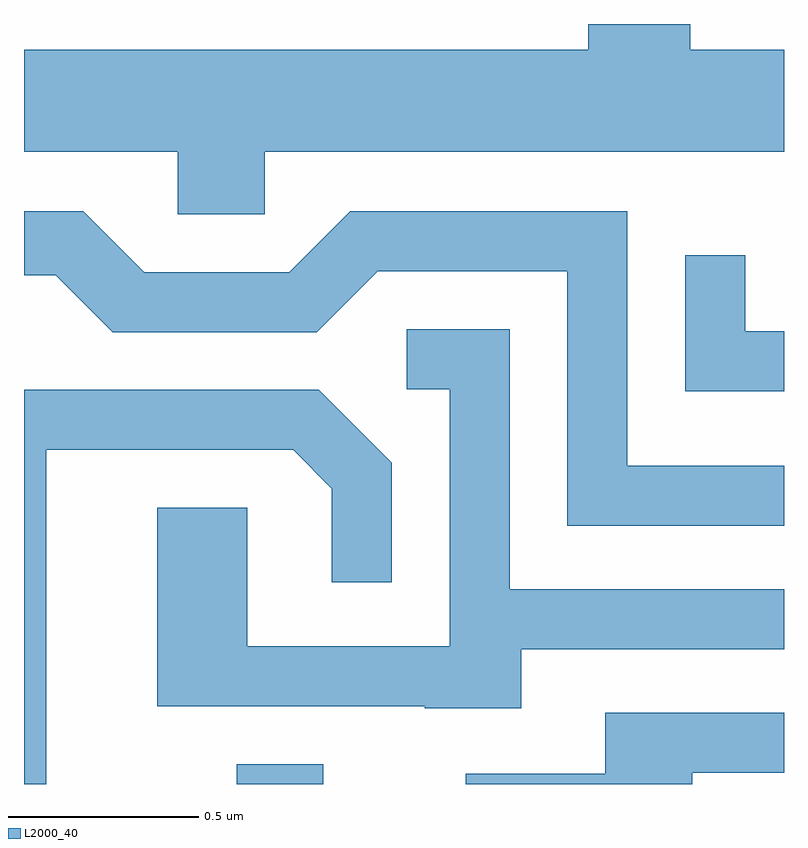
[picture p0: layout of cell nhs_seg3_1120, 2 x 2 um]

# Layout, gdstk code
import gdstk
lib = gdstk.Library(unit=1e-6, precision=1e-09)
def R(c, l, rs):  # rectangles x0, y0, x1, y1
    for r in rs: c.add(gdstk.rectangle(r[:2], r[2:], *l))
def P(c, l, *ps):  # polygons
    for p in ps: c.add(gdstk.Polygon(p, *l))
L2000_40 = (2000, 40)

nhs_seg3_1120 = lib.new_cell('nhs_seg3_1120')
R(nhs_seg3_1120, L2000_40, [(194.171,1139.892,194.399,1139.944)])
P(nhs_seg3_1120, L2000_40, [(194.244,1141.556),(195.611,1141.556),(195.611,1141.824),(195.364,1141.824),(195.364,1141.892),(195.096,1141.892),(195.096,1141.824),(193.611,1141.824),(193.611,1141.556),(194.016,1141.556),(194.016,1141.391),(194.244,1141.391)],
  [(195.611,1140.729),(195.199,1140.729),(195.199,1141.399),(194.469,1141.399),(194.309,1141.239),(193.927,1141.239),(193.767,1141.399),(193.611,1141.399),(193.611,1141.231),(193.694,1141.231),(193.844,1141.081),(194.382,1141.081),(194.542,1141.241),(195.041,1141.241),(195.041,1140.571),(195.611,1140.571)],
  [(195.611,1141.084),(195.509,1141.084),(195.509,1141.283),(195.351,1141.283),(195.351,1140.926),(195.611,1140.926)],
  [(194.919,1140.246),(195.611,1140.246),(195.611,1140.404),(194.889,1140.404),(194.889,1141.089),(194.618,1141.089),(194.618,1140.931),(194.731,1140.931),(194.731,1140.254),(194.199,1140.254),(194.199,1140.619),(193.961,1140.619),(193.961,1140.096),(194.665,1140.096),(194.665,1140.091),(194.919,1140.091)],
  [(193.669,1140.771),(194.319,1140.771),(194.421,1140.669),(194.421,1140.423),(194.579,1140.423),(194.579,1140.737),(194.387,1140.929),(193.611,1140.929),(193.611,1139.892),(193.669,1139.892)],
  [(195.369,1139.921),(195.611,1139.921),(195.611,1140.079),(195.141,1140.079),(195.141,1139.919),(194.773,1139.919),(194.773,1139.892),(195.369,1139.892)])

lib.write_gds('nhs_seg3_1120.gds')
